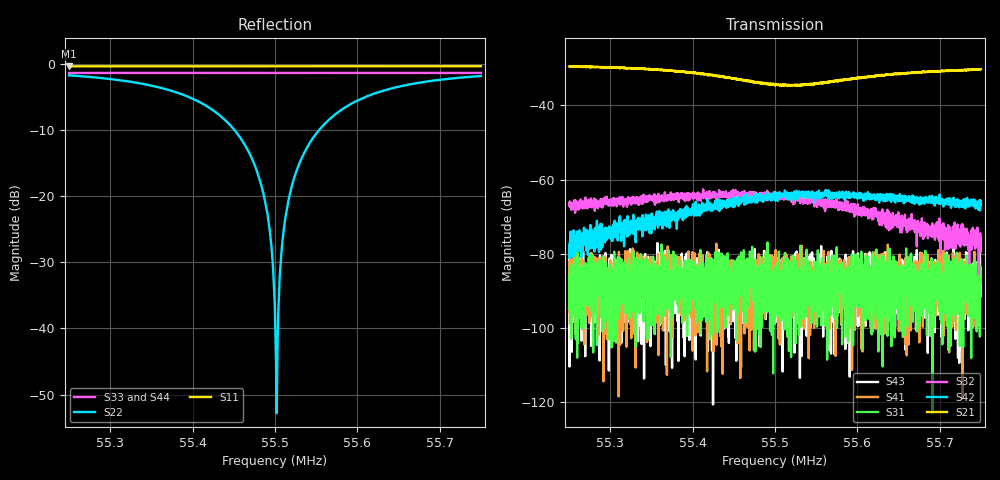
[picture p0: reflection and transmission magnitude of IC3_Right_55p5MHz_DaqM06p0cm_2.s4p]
#  HZ  S  DB  R  50.00
! Rohde & Schwarz Vector Network Analyzer
! Rohde-Schwarz,ZNB8-4Port,1311601044102961,2.82
! Created: UTC 2/13/2019, 1:51:25 PM
! freq[Hz]  db:S11  ang:S11  db:S12  ang:S12  db:S13  ang:S13  db:S14  ang:S14
!  db:S21  ang:S21  db:S22  ang:S22  db:S23  ang:S23  db:S24  ang:S24
!  db:S31  ang:S31  db:S32  ang:S32  db:S33  ang:S33  db:S34  ang:S34
!  db:S41  ang:S41  db:S42  ang:S42  db:S43  ang:S43  db:S44  ang:S44
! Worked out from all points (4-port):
!   2001 points, 55.25 MHz to 55.75 MHz, reference 50 ohm
!   strongest paths, dB at 55.25 MHz, 55.375 MHz, 55.5 MHz, 55.625 MHz, 55.75 MHz:
!     S21: -29.5, -30.6, -34.3, -32.0, -30.2
!     S42: -77.7, -70.5, -64.8, -64.4, -66.8
!     S32: -66.7, -65.1, -64.4, -69.4, -79.4
!     S31: -88.4, -89.7, -83.7, -86.1, -87.8
!     S41: -95.5, -84.6, -97.7, -81.8, -84.2
!     S43: -80.4, -110.8, -85.8, -86.9, -85.1
!   lowest |S11| = -0.4 dB at 55.25 MHz (marker M1), VSWR 41.08, Z = 2.15 + j43.8 ohm
!   |S11| at or under -10 dB: nowhere
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5.525e7  -0.42 97.5  -29.49 71.8  -89.68 85.0  -80.66 -88.2
         -29.49 72.2  -1.77 -137.2  -66.74 -155.6  -77.82 21.0
         -88.37 26.2  -66.73 -156.0  -1.41 24.7  -88.65 113.1
         -95.54 107.0  -77.73 -28.6  -80.37 -74.3  -1.43 31.2
5.5453e7  -0.40 93.7  -32.83 58.2  -81.91 30.8  -89.53 129.9
          -32.91 59.0  -10.38 169.7  -63.94 158.4  -66.92 -35.9
          -94.74 63.2  -63.77 161.0  -1.41 22.1  -90.41 177.7
          -85.87 36.4  -66.44 -36.4  -108.87 93.0  -1.42 28.7
5.54885e7  -0.40 93.1  -34.07 63.7  -89.17 116.8  -81.89 -179.5
           -34.23 62.6  -21.16 155.5  -64.18 139.2  -65.41 -56.5
           -85.74 45.4  -63.72 145.5  -1.40 21.7  -97.57 128.5
           -85.62 5.6  -64.47 -49.8  -89.85 31.3  -1.42 28.2
5.5502e7  -0.40 92.8  -34.39 67.4  -80.38 10.4  -86.88 -41.8
          -34.43 66.9  -52.83 -129.1  -65.08 140.3  -64.53 -57.7
          -89.63 35.8  -64.32 139.1  -1.40 21.6  -98.56 -159.7
          -87.98 57.3  -64.75 -60.9  -90.44 156.8  -1.42 28.1
5.55155e7  -0.40 92.6  -34.63 72.1  -84.26 166.0  -86.46 88.6
           -34.75 71.6  -21.24 -40.2  -65.33 136.3  -64.34 -61.0
           -93.93 -61.2  -64.55 134.6  -1.41 21.4  -88.60 -158.0
           -92.33 -65.4  -64.31 -61.9  -87.84 22.4  -1.42 27.9
5.555e7  -0.40 91.9  -34.10 81.6  -87.04 11.0  -86.75 3.8
         -34.04 82.7  -10.58 -54.2  -65.86 117.2  -64.08 -72.9
         -90.05 -147.0  -65.73 117.7  -1.40 20.9  -79.04 -135.7
         -83.49 53.4  -64.05 -76.5  -83.55 -105.2  -1.42 27.5
5.575e7  -0.39 88.2  -30.27 79.0  -96.71 -73.2  -81.92 46.4
         -30.23 78.6  -1.87 -106.9  -79.21 87.5  -66.44 -126.1
         -87.84 63.6  -79.41 87.6  -1.40 18.4  -83.75 -12.4
         -84.17 -60.9  -66.85 -123.1  -85.07 85.4  -1.42 25.0
